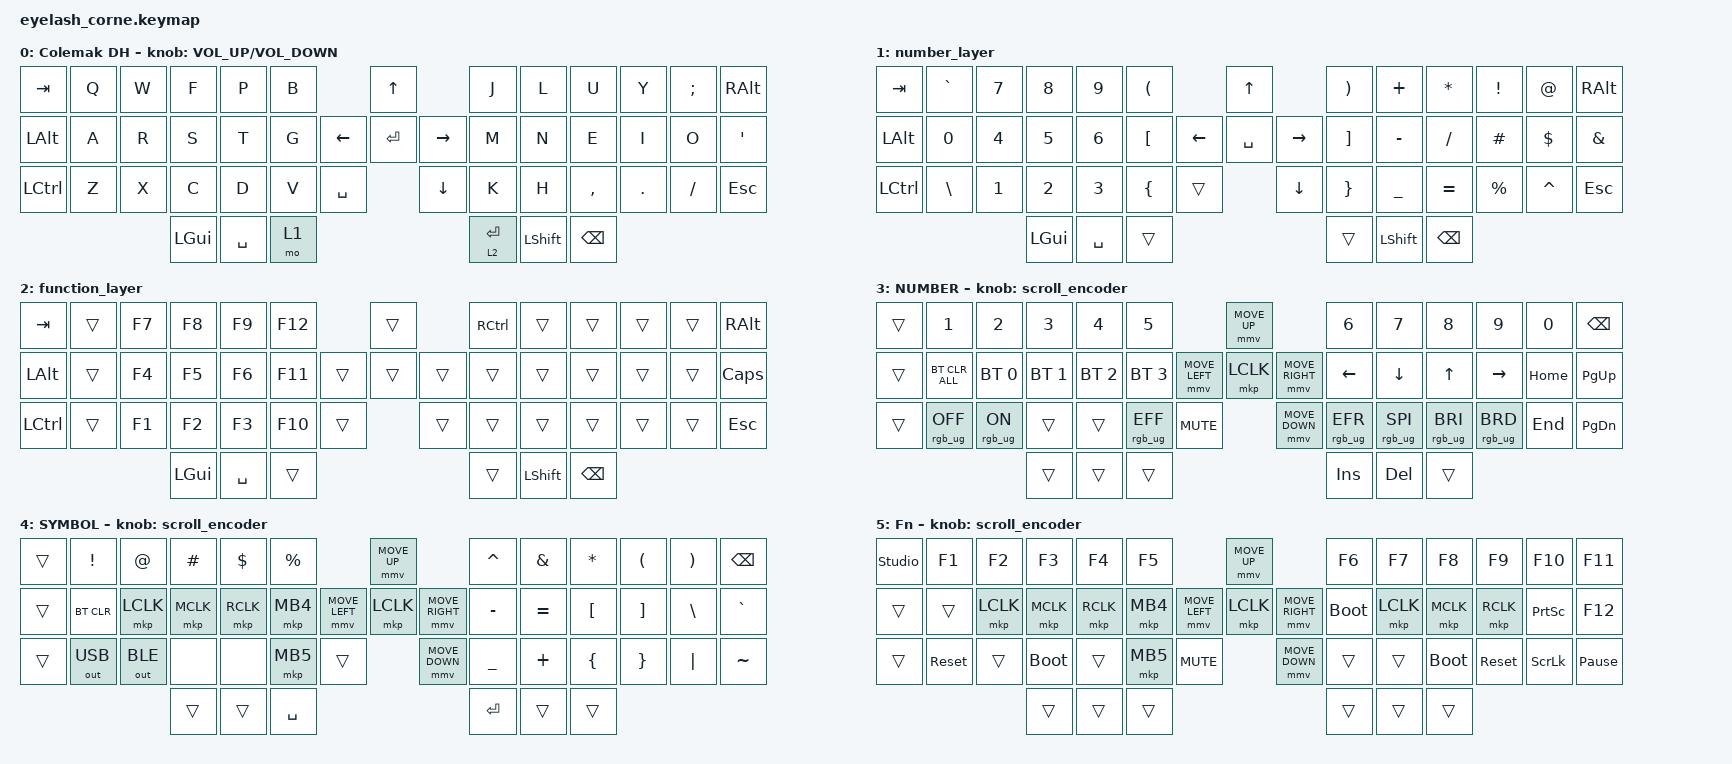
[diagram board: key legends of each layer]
#define ZMK_POINTING_DEFAULT_MOVE_VAL 1200  // 600
#define ZMK_POINTING_DEFAULT_SCRL_VAL 25   // 10

#include <input/processors.dtsi>
#include <zephyr/dt-bindings/input/input-event-codes.h>
#include <behaviors.dtsi>
#include <dt-bindings/zmk/bt.h>
#include <dt-bindings/zmk/keys.h>
#include <dt-bindings/zmk/outputs.h>
#include <dt-bindings/zmk/pointing.h>
#include <dt-bindings/zmk/rgb.h>

&mmv_input_listener { input-processors = <&zip_xy_scaler 2 1>; };

&msc_input_listener { input-processors = <&zip_scroll_scaler 2 1>; };

&msc {
    acceleration-exponent = <1>;      // 0
    time-to-max-speed-ms = <100>;       // 300
    delay-ms = <0>;                   // 0
};

&mmv {
    time-to-max-speed-ms = <500>;
    acceleration-exponent = <1>;
    trigger-period-ms = <16>;
};

/ {
    behaviors {
        td0: td0 {
            compatible = "zmk,behavior-tap-dance";
            display-name = "Shift/Caps Lock Tap Dance";
            #binding-cells = <0>;
            bindings = <&kp LEFT_SHIFT>, <&kp CAPS>;
        };
    };

    rgb_encoder: rgb_encoder {
        compatible = "zmk,behavior-sensor-rotate";
        #sensor-binding-cells = <0>;
        bindings = <&rgb_ug RGB_BRI>, <&rgb_ug RGB_BRD>;
    };

    scroll_encoder: scroll_encoder {
        compatible = "zmk,behavior-sensor-rotate";
        #sensor-binding-cells = <0>;
        bindings = <&msc SCRL_DOWN>, <&msc SCRL_UP>;

        tap-ms = <100>;
    };

    keymap {
        compatible = "zmk,keymap";

        default_layer {
            display-name = "Colemak DH";
            bindings = <
&kp TAB       &kp Q  &kp W  &kp F     &kp P      &kp B                         &kp UP                &kp J        &kp L           &kp U          &kp Y       &kp SEMICOLON  &kp RALT
&kp LEFT_ALT  &kp A  &kp R  &kp S     &kp T      &kp G               &kp LEFT  &kp ENTER  &kp RIGHT  &kp M        &kp N           &kp E          &kp I       &kp O          &kp SQT
&kp LCTRL     &kp Z  &kp X  &kp C     &kp D      &kp V  &kp SPACE              &kp DOWN              &kp K        &kp H           &kp COMMA      &kp PERIOD  &kp SLASH      &kp ESC
                            &kp LGUI  &kp SPACE  &mo 1                                               &lt 2 ENTER  &kp LEFT_SHIFT  &kp BACKSPACE
            >;

            sensor-bindings = <&inc_dec_kp C_VOLUME_UP C_VOLUME_DOWN>;
        };

        number_layer {
            bindings = <
&kp TAB    &kp GRAVE  &kp N7  &kp N8    &kp N9     &kp LPAR                      &kp UP                &kp RPAR         &kp PLUS   &kp STAR   &kp EXCL   &kp AT      &kp RALT
&kp LALT   &kp N0     &kp N4  &kp N5    &kp N6     &kp LBKT            &kp LEFT  &kp SPACE  &kp RIGHT  &kp RBKT         &kp MINUS  &kp FSLH   &kp HASH   &kp DOLLAR  &kp AMPS
&kp LCTRL  &kp BSLH   &kp N1  &kp N2    &kp N3     &kp LBRC  &trans              &kp DOWN              &kp RIGHT_BRACE  &kp UNDER  &kp EQUAL  &kp PRCNT  &kp CARET   &kp ESC
                              &kp LGUI  &kp SPACE  &trans                                              &trans           &kp LSHFT  &kp BSPC
            >;
        };

        function_layer {
            bindings = <
&kp TAB    &trans  &kp F7  &kp F8    &kp F9     &kp F12                    &trans          &kp RCTRL  &trans     &trans    &trans  &trans  &kp RALT
&kp LALT   &trans  &kp F4  &kp F5    &kp F6     &kp F11            &trans  &trans  &trans  &trans     &trans     &trans    &trans  &trans  &kp CAPS
&kp LCTRL  &trans  &kp F1  &kp F2    &kp F3     &kp F10  &trans            &trans          &trans     &trans     &trans    &trans  &trans  &kp ESC
                           &kp LGUI  &kp SPACE  &trans                                     &trans     &kp LSHFT  &kp BSPC
            >;
        };

        lower_layer {
            display-name = "NUMBER";
            bindings = <
&trans  &kp N1           &kp N2          &kp N3        &kp N4        &kp N5                                         &mmv MOVE_UP                     &kp N6           &kp N7           &kp N8           &kp N9           &kp N0    &kp BSPC
&trans  &bt BT_CLR_ALL   &bt BT_SEL 0    &bt BT_SEL 1  &bt BT_SEL 2  &bt BT_SEL 3                   &mmv MOVE_LEFT  &mkp LCLK       &mmv MOVE_RIGHT  &kp LEFT         &kp DOWN         &kp UP           &kp RIGHT        &kp HOME  &kp PG_UP
&trans  &rgb_ug RGB_OFF  &rgb_ug RGB_ON  &trans        &trans        &rgb_ug RGB_EFF  &kp C_MUTE                    &mmv MOVE_DOWN                   &rgb_ug RGB_EFR  &rgb_ug RGB_SPI  &rgb_ug RGB_BRI  &rgb_ug RGB_BRD  &kp END   &kp PG_DN
                                         &trans        &trans        &trans                                                                          &kp INS          &kp DEL          &trans
            >;

            sensor-bindings = <&scroll_encoder>;
        };

        raise_layer {
            display-name = "SYMBOL";
            bindings = <
&trans  &kp EXCL      &kp AT        &kp HASH   &kp DLLR   &kp PRCNT                            &mmv MOVE_UP                     &kp CARET  &kp AMPS   &kp ASTRK  &kp LPAR  &kp RPAR  &kp BSPC
&trans  &bt BT_CLR    &mkp LCLK     &mkp MCLK  &mkp RCLK  &mkp MB4             &mmv MOVE_LEFT  &mkp LCLK       &mmv MOVE_RIGHT  &kp MINUS  &kp EQUAL  &kp LBKT   &kp RBKT  &kp BSLH  &kp GRAVE
&trans  &out OUT_USB  &out OUT_BLE  &none      &none      &mkp MB5   &trans                    &mmv MOVE_DOWN                   &kp UNDER  &kp PLUS   &kp LBRC   &kp RBRC  &kp PIPE  &kp TILDE
                                    &trans     &trans     &kp SPACE                                                             &kp RET    &trans     &trans
            >;

            sensor-bindings = <&scroll_encoder>;
        };

        layer_3 {
            display-name = "Fn";
            bindings = <
&studio_unlock  &kp F1      &kp F2     &kp F3       &kp F4     &kp F5                                  &mmv MOVE_UP                     &kp F6       &kp F7     &kp F8       &kp F9      &kp F10          &kp F11
&trans          &trans      &mkp LCLK  &mkp MCLK    &mkp RCLK  &mkp MB4                &mmv MOVE_LEFT  &mkp LCLK       &mmv MOVE_RIGHT  &bootloader  &mkp LCLK  &mkp MCLK    &mkp RCLK   &kp PRINTSCREEN  &kp F12
&trans          &sys_reset  &trans     &bootloader  &trans     &mkp MB5  &kp C_MUTE                    &mmv MOVE_DOWN                   &trans       &trans     &bootloader  &sys_reset  &kp SCROLLLOCK   &kp PAUSE_BREAK
                                       &trans       &trans     &trans                                                                   &trans       &trans     &trans
            >;

            sensor-bindings = <&scroll_encoder>;
        };
    };
};
